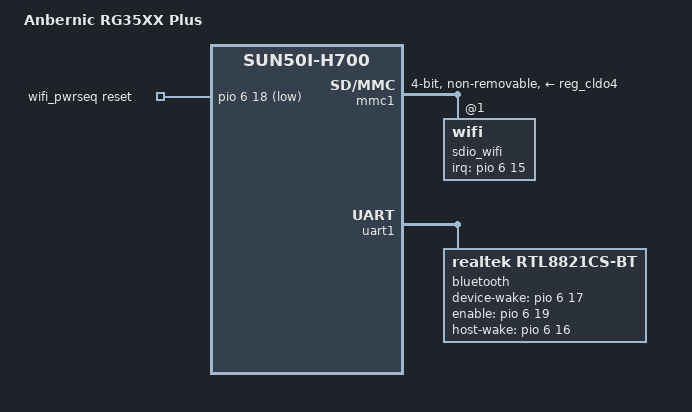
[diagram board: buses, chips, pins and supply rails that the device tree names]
// SPDX-License-Identifier: (GPL-2.0-only OR BSD-2-Clause)
/*
 * Copyright (C) 2024 Ryan Walklin <ryan@testtoast.com>.
 */

#include "sun50i-h700-anbernic-rg35xx-2024.dts"

/ {
	model = "Anbernic RG35XX Plus";
	compatible = "anbernic,rg35xx-plus", "allwinner,sun50i-h700";

	wifi_pwrseq: pwrseq {
		compatible = "mmc-pwrseq-simple";
		clocks = <&rtc CLK_OSC32K_FANOUT>;
		clock-names = "ext_clock";
		pinctrl-0 = <&x32clk_fanout_pin>;
		pinctrl-names = "default";
		post-power-on-delay-ms = <200>;
		reset-gpios = <&pio 6 18 GPIO_ACTIVE_LOW>; /* PG18 */
	};
};

/* SDIO WiFi RTL8821CS */
&mmc1 {
	vmmc-supply = <&reg_cldo4>;
	vqmmc-supply = <&reg_aldo4>;
	mmc-pwrseq = <&wifi_pwrseq>;
	bus-width = <4>;
	non-removable;
	status = "okay";

	sdio_wifi: wifi@1 {
		reg = <1>;
		interrupt-parent = <&pio>;
		interrupts = <6 15 IRQ_TYPE_LEVEL_LOW>; /* PG15 */
		interrupt-names = "host-wake";
	};
};

/* Bluetooth RTL8821CS */
&uart1 {
	pinctrl-names = "default";
	pinctrl-0 = <&uart1_pins>, <&uart1_rts_cts_pins>;
	uart-has-rtscts;
	status = "okay";

	bluetooth {
		compatible = "realtek,rtl8821cs-bt", "realtek,rtl8723bs-bt";
		device-wake-gpios = <&pio 6 17 GPIO_ACTIVE_HIGH>; /* PG17 */
		enable-gpios = <&pio 6 19 GPIO_ACTIVE_HIGH>; /* PG19 */
		host-wake-gpios = <&pio 6 16 GPIO_ACTIVE_HIGH>; /* PG16 */
	};
};
